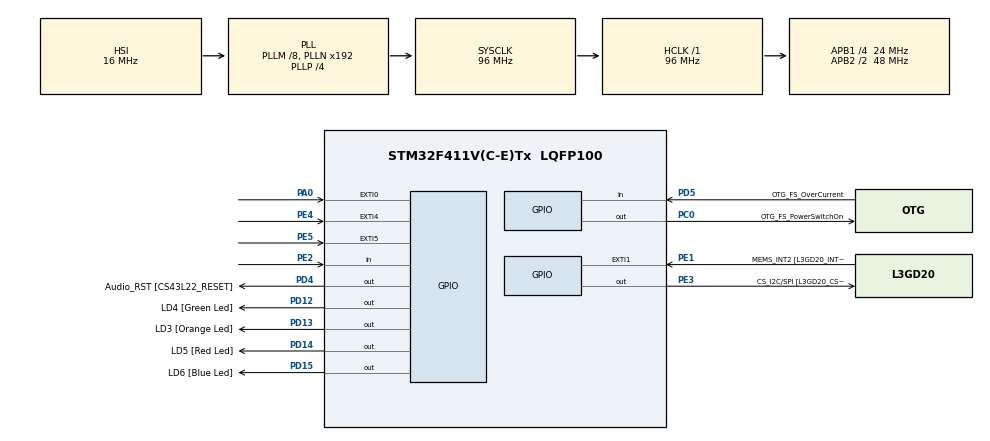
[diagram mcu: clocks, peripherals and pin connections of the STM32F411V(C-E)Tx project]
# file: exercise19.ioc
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FREERTOS.Queues01=Q1,1,uint16_t,0,Dynamic,NULL,NULL
FREERTOS.Tasks01=Monitor,0,128,StartMonitor,Default,NULL,Dynamic,NULL,NULL;Alarm,0,128,StartAlarm,Default,NULL,Dynamic,NULL,NULL
Mcu.Family=STM32F4
Mcu.Name=STM32F411V(C-E)Tx
Mcu.Package=LQFP100
NVIC.PriorityGroup=NVIC_PRIORITYGROUP_4
NVIC.TIM1_UP_TIM10_IRQn=true\:0\:0\:false\:false\:true\:false\:false\:true
NVIC.TimeBase=TIM1_UP_TIM10_IRQn
NVIC.TimeBaseIP=TIM1
PA0-WKUP.GPIO_ModeDefaultEXTI=GPIO_MODE_EVT_RISING
PA0-WKUP.Signal=GPXTI0
PA10.GPIO_Label=OTG_FS_ID
PA10.Signal=USB_OTG_FS_ID
PA11.GPIO_Label=OTG_FS_DM
PA11.Signal=USB_OTG_FS_DM
PA12.GPIO_Label=OTG_FS_DP
PA12.Signal=USB_OTG_FS_DP
PA13.GPIO_Label=SWDIO
PA13.Signal=SYS_JTMS-SWDIO
PA14.GPIO_Label=SWCLK
PA14.Signal=SYS_JTCK-SWCLK
PA4.GPIO_Label=I2S3_WS [CS43L22_LRCK]
PA4.GPIO_Mode=GPIO_MODE_AF_PP
PA4.GPIO_PuPd=GPIO_NOPULL
PA4.GPIO_Speed=GPIO_SPEED_FREQ_LOW
PA4.Signal=I2S3_WS
PA5.GPIO_Label=SPI1_SCK [L3GD20_SC/SPC]
PA5.Signal=SPI1_SCK
PA6.GPIO_Label=SPI1_MISO [L3GD20_AS0/SDO]
PA6.Signal=SPI1_MISO
PA7.GPIO_Label=SPI1_MOSI [L3GD20_SDA/SDI/SDO]
PA7.Signal=SPI1_MOSI
PA9.GPIO_Label=VBUS_FS
PA9.Signal=USB_OTG_FS_VBUS
PB10.GPIO_Label=CLK_IN [MP45DT02_CLK]
PB10.Signal=I2S2_CK
PB12.Signal=I2S2_WS
PB3.GPIO_Label=SWO
PB3.Signal=SYS_JTDO-SWO
PB6.GPIO_Label=Audio_SCL [CS43L22_SCL]
PB6.GPIO_Mode=GPIO_MODE_AF_OD
PB6.GPIO_PuPd=GPIO_NOPULL
PB6.GPIO_Speed=GPIO_SPEED_FREQ_LOW
PB6.Signal=I2C1_SCL
PB9.GPIO_Label=Audio_SDA [CS43L22_SDA]
PB9.GPIO_Mode=GPIO_MODE_AF_OD
PB9.GPIO_PuPd=GPIO_NOPULL
PB9.GPIO_Speed=GPIO_SPEED_FREQ_LOW
PB9.Signal=I2C1_SDA
PC0.GPIO_Label=OTG_FS_PowerSwitchOn
PC0.PinState=GPIO_PIN_SET
PC0.Signal=GPIO_Output
PC10.GPIO_Label=I2S3_SCK [CS43L22_SCLK]
PC10.GPIO_Mode=GPIO_MODE_AF_PP
PC10.GPIO_PuPd=GPIO_NOPULL
PC10.GPIO_Speed=GPIO_SPEED_FREQ_LOW
PC10.Signal=I2S3_CK
PC12.GPIO_Label=I2S3_SD [CS43L22_SDIN]
PC12.GPIO_Mode=GPIO_MODE_AF_PP
PC12.GPIO_PuPd=GPIO_NOPULL
PC12.GPIO_Speed=GPIO_SPEED_FREQ_LOW
PC12.Signal=I2S3_SD
PC14-OSC32_IN.GPIO_Label=PC14-OSC32_IN
PC14-OSC32_IN.Signal=RCC_OSC32_IN
PC15-OSC32_OUT.GPIO_Label=PC15-OSC32_OUT
PC15-OSC32_OUT.Signal=RCC_OSC32_OUT
PC3.GPIO_Label=PDM_OUT [MP45DT02_DOUT]
PC3.Signal=I2S2_SD
PC7.GPIO_Label=I2S3_MCK [CS43L22_MCLK]
PC7.GPIO_Mode=GPIO_MODE_AF_PP
PC7.GPIO_PuPd=GPIO_NOPULL
PC7.GPIO_Speed=GPIO_SPEED_FREQ_LOW
PC7.Signal=I2S3_MCK
PD12.GPIO_Label=LD4 [Green Led]
PD12.GPIO_PuPd=GPIO_NOPULL
PD12.GPIO_Speed=GPIO_SPEED_FREQ_LOW
PD12.Signal=GPIO_Output
PD13.GPIO_Label=LD3 [Orange Led]
PD13.GPIO_PuPd=GPIO_NOPULL
PD13.GPIO_Speed=GPIO_SPEED_FREQ_LOW
PD13.Signal=GPIO_Output
PD14.GPIO_Label=LD5 [Red Led]
PD14.GPIO_PuPd=GPIO_NOPULL
PD14.GPIO_Speed=GPIO_SPEED_FREQ_LOW
PD14.Signal=GPIO_Output
PD15.GPIO_Label=LD6 [Blue Led]
PD15.GPIO_PuPd=GPIO_NOPULL
PD15.GPIO_Speed=GPIO_SPEED_FREQ_LOW
PD15.Signal=GPIO_Output
PD4.GPIO_Label=Audio_RST [CS43L22_RESET]
PD4.Signal=GPIO_Output
PD5.GPIO_Label=OTG_FS_OverCurrent
PD5.Signal=GPIO_Input
PE1.GPIO_Label=MEMS_INT2 [L3GD20_INT2]
PE1.GPIO_ModeDefaultEXTI=GPIO_MODE_EVT_RISING
PE1.Signal=GPXTI1
PE2.Signal=GPIO_Input
PE3.GPIO_Label=CS_I2C/SPI [L3GD20_CS_I2C/SPI]
PE3.Signal=GPIO_Output
PE4.GPIO_ModeDefaultEXTI=GPIO_MODE_EVT_RISING
PE4.Signal=GPXTI4
PE5.GPIO_ModeDefaultEXTI=GPIO_MODE_EVT_RISING
PE5.Signal=GPXTI5
PH0\ -\ OSC_IN.GPIO_Label=PH0-OSC_IN
PH0\ -\ OSC_IN.Signal=RCC_OSC_IN
PH1\ -\ OSC_OUT.GPIO_Label=PH1-OSC_OUT
PH1\ -\ OSC_OUT.Signal=RCC_OSC_OUT
ProjectManager.HeapSize=0x200
ProjectManager.StackSize=0x400
ProjectManager.TargetToolchain=STM32CubeIDE
RCC.48MHZClocksFreq_Value=48000000
RCC.AHBFreq_Value=96000000
RCC.APB1CLKDivider=RCC_HCLK_DIV4
RCC.APB1Freq_Value=24000000
RCC.APB1TimFreq_Value=48000000
RCC.APB2CLKDivider=RCC_HCLK_DIV2
RCC.APB2Freq_Value=48000000
RCC.APB2TimFreq_Value=96000000
RCC.CortexFreq_Value=96000000
RCC.HCLKFreq_Value=96000000
RCC.HSE_VALUE=8000000
RCC.HSI_VALUE=16000000
RCC.LSE_VALUE=32768
RCC.PLLI2SM=5
RCC.PLLI2SN=200
RCC.PLLM=8
RCC.PLLP=RCC_PLLP_DIV4
RCC.PLLQ=8
RCC.SYSCLKFreq_VALUE=96000000
RCC.SYSCLKSource=RCC_SYSCLKSOURCE_PLLCLK
RCC.VCOOutputFreq_Value=384000000
VP_FREERTOS_VS_CMSIS_V1.Mode=CMSIS_V1
VP_SYS_VS_tim1.Mode=TIM1
board=STM32F411E-DISCO

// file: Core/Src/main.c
/* USER CODE BEGIN Header */
/**
  ******************************************************************************
  * @file           : main.c
  * @brief          : Main program body
  ******************************************************************************
  * @attention
  *
  * <h2><center>&copy; Copyright (c) 2021 STMicroelectronics.
  * All rights reserved.</center></h2>
  *
  * This software component is licensed by ST under BSD 3-Clause license,
  * the "License"; You may not use this file except in compliance with the
  * License. You may obtain a copy of the License at:
  *                        opensource.org/licenses/BSD-3-Clause
  *
  ******************************************************************************
  */
/* USER CODE END Header */

#include "main.h"
#include "cmsis_os.h"

/* USER CODE BEGIN PD */
#define RED GPIO_PIN_14
#define GREEN GPIO_PIN_12
#define BLUE GPIO_PIN_15
#define ORANGE GPIO_PIN_13

#define BUTTON GPIO_PIN_0
#define NotAlarmed 10
#define Alarmed 20
/* USER CODE END PD */

osThreadId MonitorHandle;
osThreadId AlarmHandle;
osMessageQId Q1Handle;

void SystemClock_Config(void);
static void MX_GPIO_Init(void);
void StartMonitor(void const * argument);
void StartAlarm(void const * argument);

int main(void)
{

  /* MCU Configuration--------------------------------------------------------*/

  /* Reset of all peripherals, Initializes the Flash interface and the Systick. */
  HAL_Init();

  /* Configure the system clock */
  SystemClock_Config();

  /* Initialize all configured peripherals */
  MX_GPIO_Init();

  /* Create the queue(s) */
  /* definition and creation of Q1 */
  osMessageQDef(Q1, 1, uint16_t);
  Q1Handle = osMessageCreate(osMessageQ(Q1), NULL);

  /* Create the thread(s) */
  /* definition and creation of Monitor */
  osThreadDef(Monitor, StartMonitor, osPriorityNormal, 0, 128);
  MonitorHandle = osThreadCreate(osThread(Monitor), NULL);

  /* definition and creation of Alarm */
  osThreadDef(Alarm, StartAlarm, osPriorityNormal, 0, 128);
  AlarmHandle = osThreadCreate(osThread(Alarm), NULL);

  /* Start scheduler */
  osKernelStart();

  /* We should never get here as control is now taken by the scheduler */

  /* Infinite loop */
  while (1)
  {

  }
}

void SystemClock_Config(void)
{
  RCC_OscInitTypeDef RCC_OscInitStruct = {0};
  RCC_ClkInitTypeDef RCC_ClkInitStruct = {0};

  /** Configure the main internal regulator output voltage
  */
  __HAL_RCC_PWR_CLK_ENABLE();
  __HAL_PWR_VOLTAGESCALING_CONFIG(PWR_REGULATOR_VOLTAGE_SCALE1);
  /** Initializes the CPU, AHB and APB busses clocks
  */
  RCC_OscInitStruct.OscillatorType = RCC_OSCILLATORTYPE_HSI;
  RCC_OscInitStruct.HSIState = RCC_HSI_ON;
  RCC_OscInitStruct.HSICalibrationValue = RCC_HSICALIBRATION_DEFAULT;
  RCC_OscInitStruct.PLL.PLLState = RCC_PLL_ON;
  RCC_OscInitStruct.PLL.PLLSource = RCC_PLLSOURCE_HSI;
  RCC_OscInitStruct.PLL.PLLM = 8;
  RCC_OscInitStruct.PLL.PLLN = 192;
  RCC_OscInitStruct.PLL.PLLP = RCC_PLLP_DIV4;
  RCC_OscInitStruct.PLL.PLLQ = 8;
  if (HAL_RCC_OscConfig(&RCC_OscInitStruct) != HAL_OK)
  {
    Error_Handler();
  }
  /** Initializes the CPU, AHB and APB busses clocks
  */
  RCC_ClkInitStruct.ClockType = RCC_CLOCKTYPE_HCLK|RCC_CLOCKTYPE_SYSCLK
                              |RCC_CLOCKTYPE_PCLK1|RCC_CLOCKTYPE_PCLK2;
  RCC_ClkInitStruct.SYSCLKSource = RCC_SYSCLKSOURCE_PLLCLK;
  RCC_ClkInitStruct.AHBCLKDivider = RCC_SYSCLK_DIV1;
  RCC_ClkInitStruct.APB1CLKDivider = RCC_HCLK_DIV4;
  RCC_ClkInitStruct.APB2CLKDivider = RCC_HCLK_DIV2;

  if (HAL_RCC_ClockConfig(&RCC_ClkInitStruct, FLASH_LATENCY_3) != HAL_OK)
  {
    Error_Handler();
  }
}

static void MX_GPIO_Init(void)
{
  GPIO_InitTypeDef GPIO_InitStruct = {0};

  /* GPIO Ports Clock Enable */
  __HAL_RCC_GPIOE_CLK_ENABLE();
  __HAL_RCC_GPIOC_CLK_ENABLE();
  __HAL_RCC_GPIOH_CLK_ENABLE();
  __HAL_RCC_GPIOA_CLK_ENABLE();
  __HAL_RCC_GPIOB_CLK_ENABLE();
  __HAL_RCC_GPIOD_CLK_ENABLE();

  /*Configure GPIO pin Output Level */
  HAL_GPIO_WritePin(CS_I2C_SPI_GPIO_Port, CS_I2C_SPI_Pin, GPIO_PIN_RESET);

  /*Configure GPIO pin Output Level */
  HAL_GPIO_WritePin(OTG_FS_PowerSwitchOn_GPIO_Port, OTG_FS_PowerSwitchOn_Pin, GPIO_PIN_SET);

  /*Configure GPIO pin Output Level */
  HAL_GPIO_WritePin(GPIOD, LD4_Pin|LD3_Pin|LD5_Pin|LD6_Pin
                          |Audio_RST_Pin, GPIO_PIN_RESET);

  /*Configure GPIO pin : PE2 */
  GPIO_InitStruct.Pin = GPIO_PIN_2;
  GPIO_InitStruct.Mode = GPIO_MODE_INPUT;
  GPIO_InitStruct.Pull = GPIO_NOPULL;
  HAL_GPIO_Init(GPIOE, &GPIO_InitStruct);

  /*Configure GPIO pin : CS_I2C_SPI_Pin */
  GPIO_InitStruct.Pin = CS_I2C_SPI_Pin;
  GPIO_InitStruct.Mode = GPIO_MODE_OUTPUT_PP;
  GPIO_InitStruct.Pull = GPIO_NOPULL;
  GPIO_InitStruct.Speed = GPIO_SPEED_FREQ_LOW;
  HAL_GPIO_Init(CS_I2C_SPI_GPIO_Port, &GPIO_InitStruct);

  /*Configure GPIO pins : PE4 PE5 MEMS_INT2_Pin */
  GPIO_InitStruct.Pin = GPIO_PIN_4|GPIO_PIN_5|MEMS_INT2_Pin;
  GPIO_InitStruct.Mode = GPIO_MODE_EVT_RISING;
  GPIO_InitStruct.Pull = GPIO_NOPULL;
  HAL_GPIO_Init(GPIOE, &GPIO_InitStruct);

  /*Configure GPIO pin : OTG_FS_PowerSwitchOn_Pin */
  GPIO_InitStruct.Pin = OTG_FS_PowerSwitchOn_Pin;
  GPIO_InitStruct.Mode = GPIO_MODE_OUTPUT_PP;
  GPIO_InitStruct.Pull = GPIO_NOPULL;
  GPIO_InitStruct.Speed = GPIO_SPEED_FREQ_LOW;
  HAL_GPIO_Init(OTG_FS_PowerSwitchOn_GPIO_Port, &GPIO_InitStruct);

  /*Configure GPIO pin : PDM_OUT_Pin */
  GPIO_InitStruct.Pin = PDM_OUT_Pin;
  GPIO_InitStruct.Mode = GPIO_MODE_AF_PP;
  GPIO_InitStruct.Pull = GPIO_NOPULL;
  GPIO_InitStruct.Speed = GPIO_SPEED_FREQ_LOW;
  GPIO_InitStruct.Alternate = GPIO_AF5_SPI2;
  HAL_GPIO_Init(PDM_OUT_GPIO_Port, &GPIO_InitStruct);

  /*Configure GPIO pin : PA0 */
  GPIO_InitStruct.Pin = GPIO_PIN_0;
  GPIO_InitStruct.Mode = GPIO_MODE_EVT_RISING;
  GPIO_InitStruct.Pull = GPIO_NOPULL;
  HAL_GPIO_Init(GPIOA, &GPIO_InitStruct);

  /*Configure GPIO pin : I2S3_WS_Pin */
  GPIO_InitStruct.Pin = I2S3_WS_Pin;
  GPIO_InitStruct.Mode = GPIO_MODE_AF_PP;
  GPIO_InitStruct.Pull = GPIO_NOPULL;
  GPIO_InitStruct.Speed = GPIO_SPEED_FREQ_LOW;
  GPIO_InitStruct.Alternate = GPIO_AF6_SPI3;
  HAL_GPIO_Init(I2S3_WS_GPIO_Port, &GPIO_InitStruct);

  /*Configure GPIO pins : SPI1_SCK_Pin SPI1_MISO_Pin SPI1_MOSI_Pin */
  GPIO_InitStruct.Pin = SPI1_SCK_Pin|SPI1_MISO_Pin|SPI1_MOSI_Pin;
  GPIO_InitStruct.Mode = GPIO_MODE_AF_PP;
  GPIO_InitStruct.Pull = GPIO_NOPULL;
  GPIO_InitStruct.Speed = GPIO_SPEED_FREQ_VERY_HIGH;
  GPIO_InitStruct.Alternate = GPIO_AF5_SPI1;
  HAL_GPIO_Init(GPIOA, &GPIO_InitStruct);

  /*Configure GPIO pins : CLK_IN_Pin PB12 */
  GPIO_InitStruct.Pin = CLK_IN_Pin|GPIO_PIN_12;
  GPIO_InitStruct.Mode = GPIO_MODE_AF_PP;
  GPIO_InitStruct.Pull = GPIO_NOPULL;
  GPIO_InitStruct.Speed = GPIO_SPEED_FREQ_LOW;
  GPIO_InitStruct.Alternate = GPIO_AF5_SPI2;
  HAL_GPIO_Init(GPIOB, &GPIO_InitStruct);

  /*Configure GPIO pins : LD4_Pin LD3_Pin LD5_Pin LD6_Pin
                           Audio_RST_Pin */
  GPIO_InitStruct.Pin = LD4_Pin|LD3_Pin|LD5_Pin|LD6_Pin
                          |Audio_RST_Pin;
  GPIO_InitStruct.Mode = GPIO_MODE_OUTPUT_PP;
  GPIO_InitStruct.Pull = GPIO_NOPULL;
  GPIO_InitStruct.Speed = GPIO_SPEED_FREQ_LOW;
  HAL_GPIO_Init(GPIOD, &GPIO_InitStruct);

  /*Configure GPIO pins : I2S3_MCK_Pin I2S3_SCK_Pin I2S3_SD_Pin */
  GPIO_InitStruct.Pin = I2S3_MCK_Pin|I2S3_SCK_Pin|I2S3_SD_Pin;
  GPIO_InitStruct.Mode = GPIO_MODE_AF_PP;
  GPIO_InitStruct.Pull = GPIO_NOPULL;
  GPIO_InitStruct.Speed = GPIO_SPEED_FREQ_LOW;
  GPIO_InitStruct.Alternate = GPIO_AF6_SPI3;
  HAL_GPIO_Init(GPIOC, &GPIO_InitStruct);

  /*Configure GPIO pin : VBUS_FS_Pin */
  GPIO_InitStruct.Pin = VBUS_FS_Pin;
  GPIO_InitStruct.Mode = GPIO_MODE_INPUT;
  GPIO_InitStruct.Pull = GPIO_NOPULL;
  HAL_GPIO_Init(VBUS_FS_GPIO_Port, &GPIO_InitStruct);

  /*Configure GPIO pins : OTG_FS_ID_Pin OTG_FS_DM_Pin OTG_FS_DP_Pin */
  GPIO_InitStruct.Pin = OTG_FS_ID_Pin|OTG_FS_DM_Pin|OTG_FS_DP_Pin;
  GPIO_InitStruct.Mode = GPIO_MODE_AF_PP;
  GPIO_InitStruct.Pull = GPIO_NOPULL;
  GPIO_InitStruct.Speed = GPIO_SPEED_FREQ_VERY_HIGH;
  GPIO_InitStruct.Alternate = GPIO_AF10_OTG_FS;
  HAL_GPIO_Init(GPIOA, &GPIO_InitStruct);

  /*Configure GPIO pin : OTG_FS_OverCurrent_Pin */
  GPIO_InitStruct.Pin = OTG_FS_OverCurrent_Pin;
  GPIO_InitStruct.Mode = GPIO_MODE_INPUT;
  GPIO_InitStruct.Pull = GPIO_NOPULL;
  HAL_GPIO_Init(OTG_FS_OverCurrent_GPIO_Port, &GPIO_InitStruct);

  /*Configure GPIO pins : Audio_SCL_Pin Audio_SDA_Pin */
  GPIO_InitStruct.Pin = Audio_SCL_Pin|Audio_SDA_Pin;
  GPIO_InitStruct.Mode = GPIO_MODE_AF_OD;
  GPIO_InitStruct.Pull = GPIO_PULLUP;
  GPIO_InitStruct.Speed = GPIO_SPEED_FREQ_LOW;
  GPIO_InitStruct.Alternate = GPIO_AF4_I2C1;
  HAL_GPIO_Init(GPIOB, &GPIO_InitStruct);

}

void StartMonitor(void const * argument)
{
  /* USER CODE BEGIN 5 */
  int AlarmState = NotAlarmed;

  osMessagePut(Q1Handle, AlarmState, 0);
  /* Infinite loop */
  for(;;)
  {
    while(HAL_GPIO_ReadPin(GPIOA, BUTTON) == GPIO_PIN_RESET);
    HAL_GPIO_WritePin(GPIOD, BLUE, GPIO_PIN_SET);
    while(HAL_GPIO_ReadPin(GPIOA, BUTTON) == GPIO_PIN_SET);
    HAL_GPIO_WritePin(GPIOD, BLUE, GPIO_PIN_RESET);

    if(AlarmState == NotAlarmed){
    	AlarmState = Alarmed;
    	osMessagePut(Q1Handle, AlarmState, 0);
    	HAL_GPIO_WritePin(GPIOD, ORANGE, GPIO_PIN_SET);
    }else if(AlarmState == Alarmed){
    	AlarmState = NotAlarmed;
    	osMessagePut(Q1Handle, AlarmState, 0);
    	HAL_GPIO_WritePin(GPIOD, ORANGE, GPIO_PIN_RESET);
    }
    osDelay(250);
  }
  /* USER CODE END 5 */
}

void StartAlarm(void const * argument)
{
  /* USER CODE BEGIN StartAlarm */
	osEvent QReadState;
	int SensorState;
  /* Infinite loop */
  for(;;)
  {
    QReadState = osMessageGet(Q1Handle, 0);

    if(QReadState.status == osEventMessage){
    	SensorState = QReadState.value.v;
    	if(SensorState == Alarmed){
    		HAL_GPIO_WritePin(GPIOD, RED, GPIO_PIN_SET);
    	}else if(SensorState == NotAlarmed){
    		HAL_GPIO_WritePin(GPIOD, RED, GPIO_PIN_RESET);
    	}
    }
    osDelay(500);
  }
  /* USER CODE END StartAlarm */
}

void HAL_TIM_PeriodElapsedCallback(TIM_HandleTypeDef *htim)
{
  if (htim->Instance == TIM1) {
    HAL_IncTick();
  }
}

void Error_Handler(void)
{
}

/************************ (C) COPYRIGHT STMicroelectronics *****END OF FILE****/
